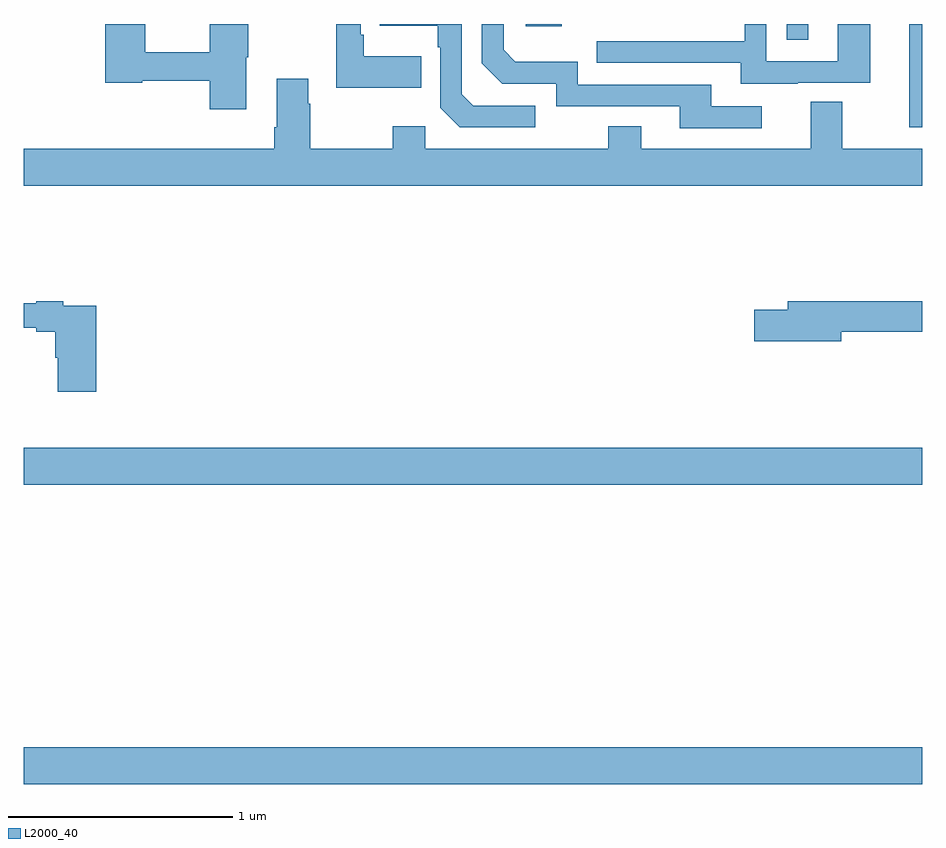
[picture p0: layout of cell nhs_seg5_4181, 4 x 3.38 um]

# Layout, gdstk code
import gdstk
lib = gdstk.Library(unit=1e-6, precision=1e-09)
def R(c, l, rs):  # rectangles x0, y0, x1, y1
    for r in rs: c.add(gdstk.rectangle(r[:2], r[2:], *l))
def P(c, l, *ps):  # polygons
    for p in ps: c.add(gdstk.Polygon(p, *l))
L2000_40 = (2000, 40)

nhs_seg5_4181 = lib.new_cell('nhs_seg5_4181')
R(nhs_seg5_4181, L2000_40, [(357,867.416,361,867.58), (357,868.748,361,868.912), (360.941,870.339,361,870.799), (360.396,870.729,360.493,870.799), (359.235,870.788,359.396,870.799)])
P(nhs_seg5_4181, L2000_40, [(358.769,870.655),(358.513,870.655),(358.513,870.751),(358.5,870.751),(358.5,870.799),(358.392,870.799),(358.392,870.515),(358.769,870.515)],
  [(360.286,870.432),(360.061,870.432),(360.061,870.528),(359.466,870.528),(359.466,870.631),(359.189,870.631),(359.136,870.684),(359.136,870.799),(359.04,870.799),(359.04,870.624),(359.13,870.534),(359.37,870.534),(359.37,870.432),(359.921,870.432),(359.921,870.336),(360.286,870.336)],
  [(360.445,870.537),(360.769,870.537),(360.769,870.799),(360.624,870.799),(360.624,870.633),(360.306,870.633),(360.306,870.799),(360.21,870.799),(360.21,870.723),(359.551,870.723),(359.551,870.627),(360.191,870.627),(360.191,870.533),(360.445,870.533)],
  [(359.278,870.435),(359.001,870.435),(358.95,870.486),(358.95,870.799),(358.585,870.799),(358.585,870.791),(358.842,870.791),(358.842,870.695),(358.854,870.695),(358.854,870.426),(358.941,870.339),(359.278,870.339)],
  [(357.991,870.651),(357.999,870.651),(357.999,870.799),(357.829,870.799),(357.829,870.674),(357.54,870.674),(357.54,870.799),(357.362,870.799),(357.362,870.538),(357.528,870.538),(357.528,870.546),(357.829,870.546),(357.829,870.42),(357.991,870.42)],
  [(361,870.244),(360.643,870.244),(360.643,870.452),(360.503,870.452),(360.503,870.244),(359.749,870.244),(359.749,870.343),(359.602,870.343),(359.602,870.244),(358.788,870.244),(358.788,870.343),(358.642,870.343),(358.642,870.244),(358.275,870.244),(358.275,870.443),(358.267,870.443),(358.267,870.556),(358.127,870.556),(358.127,870.34),(358.115,870.34),(358.115,870.244),(357,870.244),(357,870.08),(361,870.08)],
  [(357.323,869.544),(357.176,869.544),(357.176,869.564),(357.056,869.564),(357.056,869.557),(357,869.557),(357,869.447),(357.056,869.447),(357.056,869.428),(357.14,869.428),(357.14,869.313),(357.152,869.313),(357.152,869.163),(357.323,869.163)],
  [(360.64,869.428),(361,869.428),(361,869.564),(360.401,869.564),(360.401,869.528),(360.252,869.528),(360.252,869.386),(360.64,869.386)])

lib.write_gds('nhs_seg5_4181.gds')
